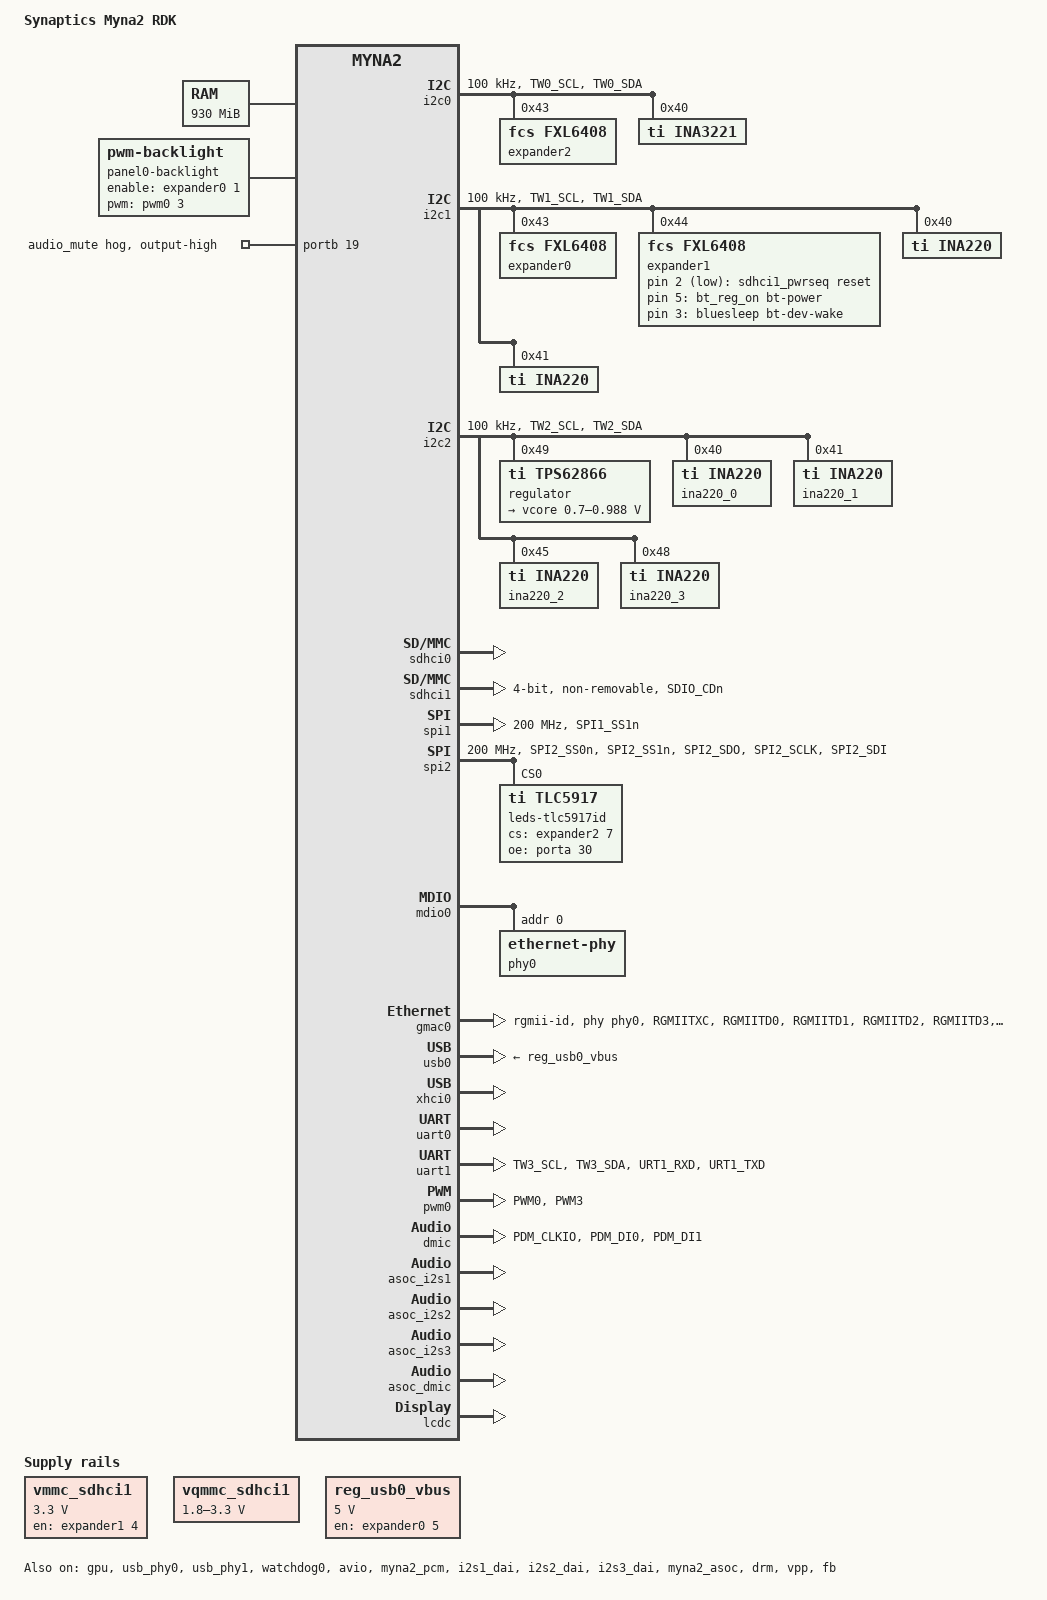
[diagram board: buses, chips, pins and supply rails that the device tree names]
/* SPDX-License-Identifier: GPL-2.0+ */
/*
* Copyright (C) 2016~2023 Synaptics Incorporated. All rights reserved.
*
* This program is free software; you can redistribute it and/or modify
* it under the terms of the GNU General Public License version 2 or
* later as published by the Free Software Foundation.
*
* INFORMATION CONTAINED IN THIS DOCUMENT IS PROVIDED "AS-IS," AND
* SYNAPTICS EXPRESSLY DISCLAIMS ALL EXPRESS AND IMPLIED WARRANTIES,
* INCLUDING ANY IMPLIED WARRANTIES OF MERCHANTABILITY AND FITNESS FOR
* A PARTICULAR PURPOSE, AND ANY WARRANTIES OF NON-INFRINGEMENT OF ANY
* INTELLECTUAL PROPERTY RIGHTS. IN NO EVENT SHALL SYNAPTICS BE LIABLE
* FOR ANY DIRECT, INDIRECT, INCIDENTAL, SPECIAL, PUNITIVE, OR
* CONSEQUENTIAL DAMAGES ARISING OUT OF OR IN CONNECTION WITH THE USE
* OF THE INFORMATION CONTAINED IN THIS DOCUMENT, HOWEVER CAUSED AND
* BASED ON ANY THEORY OF LIABILITY, WHETHER IN AN ACTION OF CONTRACT,
* NEGLIGENCE OR OTHER TORTIOUS ACTION, AND EVEN IF SYNAPTICS WAS
* ADVISED OF THE POSSIBILITY OF SUCH DAMAGE. IF A TRIBUNAL OF
* COMPETENT JURISDICTION DOES NOT PERMIT THE DISCLAIMER OF DIRECT
* DAMAGES OR ANY OTHER DAMAGES, SYNAPTICS' TOTAL CUMULATIVE LIABILITY
* TO ANY PARTY SHALL NOT EXCEED ONE HUNDRED U.S. DOLLARS.
*/

/dts-v1/;

/memreserve/ 0x3ff00000 0x00100000;

#include <dt-bindings/gpio/gpio.h>

#include "myna2.dtsi"

/ {
	model = "Synaptics Myna2 RDK";
	compatible = "syna,myna2-rdk", "syna,myna2";

	cpus {
		cpu@0 {
			cpu0-supply = <&vcore>;
		};
	};

	chosen {
		bootargs = "cma=0x4000000@0x38800000";
		stdout-path = "serial0:115200n8";
	};

	memory {
		device_type = "memory";
		reg = <0 0x4a00000 0 0x3a200000>;
	};

	panel0-backlight {
		compatible = "pwm-backlight";
		pwms = <&pwm0 3 1000000 0>;
		brightness-levels = <0 36 72 108 144 180 212 255>;
		default-brightness-level = <7>;
		enable-gpio = <&expander0 1 GPIO_ACTIVE_HIGH>;
	};

	ion {
		compatible = "syna,berlin-heaps";
		pool-num = <2>;
		reg-names = "NonSecure-NC", "Secure";
		reg = <0 0x3ec00000 0  0x400000>,
			<0 0x3f000000 0 0x1000000>;
		attributes-num-per-pool = <2>;
		pool-attributes = <0x00000105 0x00000F3A 0x00000102 0x00000F3D>;
	};

	sdhci1_pwrseq: sdhci1-pwrseq {
		compatible = "mmc-pwrseq-simple";
		reset-gpios = <&expander1 2 GPIO_ACTIVE_LOW>;
		post-power-on-delay-ms = <50>;
	};

	regulators {
		compatible = "simple-bus";
		#address-cells = <1>;
		#size-cells = <0>;

		vmmc_sdhci1: vmmc_sdhci1 {
			compatible = "regulator-fixed";
			regulator-min-microvolt = <3300000>;
			regulator-max-microvolt = <3300000>;
			regulator-name = "vmmc_sdio";
			enable-active-high;
			regulator-boot-on;
			gpio = <&expander1 4 GPIO_ACTIVE_HIGH>;
		};

		vqmmc_sdhci1: vqmmc_sdhci1 {
			compatible = "regulator-gpio";
			regulator-min-microvolt = <1800000>;
			regulator-max-microvolt = <3300000>;
			regulator-name = "vqmmc_sdio";
			regulator-type = "voltage";
			enable-active-high;
			gpios = <&expander1 6 GPIO_ACTIVE_HIGH>;
			states = <1800000 0x0
				  3300000 0x1>;
		};

		reg_usb0_vbus: usb0_vbus {
			compatible = "regulator-fixed";
			regulator-name = "usb0_vbus";
			regulator-min-microvolt = <5000000>;
			regulator-max-microvolt = <5000000>;
			gpio = <&expander0 5 GPIO_ACTIVE_HIGH>;
			enable-active-high;
			regulator-boot-on;
		};

	};

	bt_reg_on: bt_reg_on {
		compatible = "syna,rfkill";
		bt-power-gpio = <&expander1 5 GPIO_ACTIVE_HIGH>;
	};

	bluesleep: bluesleep {
		compatible = "syna,bluesleep";
		bt-dev-wake-gpio = <&expander1 3 GPIO_ACTIVE_HIGH>;
	};
};

&i2c0 {
	status = "okay";
	pinctrl-0 = <&i2c0_pmux>;
	pinctrl-names = "default";
	clock-frequency = <100000>;

	expander2: gpio@43 {
		compatible = "fcs,fxl6408";
		reg = <0x43>;
		gpio-controller;
		#gpio-cells = <2>;

		dmic_hog {
			gpio-hog;
			gpios = <4 GPIO_ACTIVE_HIGH>;
			output-high;
		};

		levelshift_en {
			gpio-hog;
			gpios = <5 GPIO_ACTIVE_HIGH>;
			output-low;
		};
	};

	ina3221@40{
		compatible = "ti,ina3221";
		reg = <0x40>;
		#address-cells = <1>;
		#size-cells = <0>;

		input@0 {
			reg = <0x0>;
			label = "VCORE";
		};

		input@1 {
			reg = <0x1>;
			label = "1V2";
		};

		input@2 {
			reg = <0x2>;
			label = "2V5";
		};
	};
};

&i2c1 {
	status = "okay";
	pinctrl-0 = <&i2c1_pmux>;
	pinctrl-names = "default";
	no-irq-suspend;
	clock-frequency = <100000>;

	expander0: gpio@43 {
		compatible = "fcs,fxl6408";
		reg = <0x43>;
		gpio-controller;
		#gpio-cells = <2>;

		en_wifi {
			gpio-hog;
			gpios = <0 GPIO_ACTIVE_LOW>;
			output-low;
		};
	};

	expander1: gpio@44 {
		compatible = "fcs,fxl6408";
		reg = <0x44>;
		gpio-controller;
		#gpio-cells = <2>;

		audio_mux {
			gpio-hog;
			gpios = <0 GPIO_ACTIVE_HIGH>;
			output-high;
		};
	};

	ina220@40 {
		compatible = "ti,ina220";
		reg = <0x40>;
	};

	ina220@41 {
		compatible = "ti,ina220";
		reg = <0x41>;
	};
};

&i2c2 {
	status = "okay";
	pinctrl-0 = <&i2c2_pmux>;
	pinctrl-names = "default";
	no-irq-suspend;
	clock-frequency = <100000>;

	regulator@49 {
		compatible = "ti,tps62866";
		reg = <0x49>;
		regulators {
			vcore: SW {
				regulator-boot-on;
				regulator-always-on;
				regulator-active-discharge = <0>;
				regulator-name = "vcore";
				regulator-min-microvolt = <700000>;
				regulator-max-microvolt = <987500>;
				regulator-initial-mode = <0>;
			};
		};
	};

	ina220_0: ina220-0@40 {
		compatible = "ti,ina220";
		reg = <0x40>;
	};

	ina220_1: ina220-1@41 {
		compatible = "ti,ina220";
		reg = <0x41>;
	};

	ina220_2: ina220-2@45 {
		compatible = "ti,ina220";
		reg = <0x45>;
	};

	ina220_3: ina220-3@48 {
		compatible = "ti,ina220";
		reg = <0x48>;
	};
};

&pinctrl {
	gmac0_pmux: gmac0-pmux {
		groups = "RGMIITXC", "RGMIITD0", "RGMIITD1", "RGMIITD2", "RGMIITD3", "RGMIITXCTL", "RGMIIRXC", "RGMIIRD0", "RGMIIRD1", "RGMIIRD2", "RGMIIRD3", "RGMIIRXCTL", "RGMII_CLK_OUT";
		function = "rgmii";
		drive-strength = <3>;
	};

	rgmiia_pmux: rgmiia-pmux {
		groups = "GPIO_A0", "GPIO_A1";
		function = "rgmiia";
		drive-strength = <6>;
	};


	sdio_pmux: sdio-pmux {
		groups = "LCDGPIO3", "LCDGPIO4";
		function = "sdio";
	};

	i2c0_pmux: i2c0-pmux {
		groups = "TW0_SCL", "TW0_SDA";
		function = "tw0";
		drive-strength = <7>;
	};

	i2c1_pmux: i2c1-pmux {
		groups = "TW1_SCL", "TW1_SDA";
		function = "tw1";
		drive-strength = <7>;
	};

	i2c2_pmux: i2c2-pmux {
		groups = "TW2_SCL", "TW2_SDA";
		function = "tw2";
		drive-strength = <7>;
	};

	gpio2_pmux: gpio2-pmux {
		groups = "TDO";
		function = "gpio";
	};

	expander2_pmux: expander2-pmux {
		groups = "PWM2";
		function = "gpio";
	};

	spi1_pmux: spi1-pmux {
		groups = "SPI1_SS1n";
		function = "spi1";
	};

	spi2_pmux: spi2-pmux {
		groups = "SPI2_SS0n", "SPI2_SS1n", "SPI2_SDO", "SPI2_SCLK", "SPI2_SDI";
		function = "spi2";
	};

	pwm0_pmux: pwm0-pmux {
		groups = "PWM0";
		function = "pwm";
	};

	pwm3_pmux: pwm3-pmux {
		groups = "PWM3";
		function = "pwm";
	};

	uart1_pmux: uart1-pmux {
		groups = "TW3_SCL", "TW3_SDA", "URT1_RXD", "URT1_TXD";
		function = "urt1a";
	};

	i2s1_pmux: i2s1-pmux {
		groups = "I2S1_BCLK", "I2S1_LRCK", "I2S1_DO", "I2S1_DI", "I2S1_MCLK";
		function = "i2s1";
	};

	i2s3_pmux: i2s3-pmux {
		groups = "I2S3_BCLK", "I2S3_LRCK", "I2S3_DO", "I2S3_DI";
		function = "i2s3";
	};

	i2s2_pmux: i2s2-pmux {
		groups = "I2S2_BCLK", "I2S2_LRCK", "I2S2_DO", "I2S2_DI";
		function = "i2s2";
	};

	tlv_amp: tlv-amp-enable {
		groups = "I2S2_DI";
		function = "gpio";
	};

	pdm_pmux: pdm-pmux {
		groups = "PDM_CLKIO", "PDM_DI0", "PDM_DI1";
		function = "pdm";
	};

	lcdc_pmux: lcdc-pmux {
		groups = "LCDD0", "LCDD1", "LCDD2", "LCDD3", "LCDD4", "LCDD5", "LCDD6", "LCDD7",
				 "LCDD8", "LCDD9", "LCDD10", "LCDD11", "LCDD12", "LCDD13", "LCDD14", "LCDD15",
				 "LCDD16", "LCDD17", "LCDD18", "LCDD19", "LCDD20", "LCDD21", "LCDD22", "LCDD23";
		function = "lcd";
	};

	lcdc_pmux1: lcdc-pmux1 {
		groups = "LPCLK";
		function = "lpclk";
	};

	lcdc_gpio_pmux: lcdc-gpio-pmux {
		groups = "LCDGPIO0", "LCDGPIO1", "LCDGPIO2";
		function = "lcdgpio";
	};

	audio_mute: audio-mute {
		groups = "USB2_DRV_VBUS";
		function = "gpio";
	};

	sdhci1_pmux: sdhci1-pmux {
		groups = "SDIO_CDn";
		function = "sdio";
		drive-strength = <7>;
        };

};

&gpu {
	status = "okay";
};

&sdhci0 {
	status = "okay";
	sdclkdl-dc = /bits/ 8 <26>;
	mmc-ddr-1_8v;
	mmc-hs200-1_8v;
	mmc-hs400-1_8v;
	dll-calibration;
};

&sdhci1 {
	status = "okay";
	pinctrl-0 = <&sdhci1_pmux>;
	pinctrl-names = "default";
	bus-width = <4>;
	sdclkdl-dc = /bits/ 8 <75>;
	pad-sp = /bits/ 8 <4>;
	pad-sn = /bits/ 8 <4>;
	no-sd;
	no-mmc;
	non-removable;
	mmc-pwrseq = <&sdhci1_pwrseq>;
	mode1-tune;
	keep-power-in-suspend;
};

&spi1 {
	status = "okay";
	max-write-size = <128>;
	clock-frequency = <200000000>;
	pinctrl-0 = <&spi1_pmux>;
	pinctrl-names = "default";
};

&spi2 {
	status = "okay";
	max-write-size = <128>;
	clock-frequency = <200000000>;
	pinctrl-0 = <&spi2_pmux>;
	pinctrl-names = "default";

	leds-tlc5917id@0 {
		compatible = "ti,tlc5917";
		cs-gpio = <&expander2 7 GPIO_ACTIVE_HIGH>;
		oe-gpio = <&porta 30 GPIO_ACTIVE_HIGH>;
		#address-cells = <1>;
		#size-cells = <0>;
		reg = <0>;

		led0 {
			reg = <0>;
			label = "LED0";
		};

		led1 {
			reg = <1>;
			label = "LED1";
		};

		led2 {
			reg = <2>;
			label = "LED2";
		};

		led3 {
			reg = <3>;
			label = "LED3";
		};

		led4 {
			reg = <4>;
			label = "LED4";
		};

		led5 {
			reg = <5>;
			label = "LED5";
		};

		led6 {
			reg = <6>;
			label = "LED6";
		};

		led7 {
			reg = <7>;
			label = "LED7";
		};
	};
};

&mdio0 {
	phy0: ethernet-phy@0 {
		reg = <0>;
		realtek,clkout-disable;
		realtek,rxc-ssc-enable;
		realtek,sysclk-ssc-enable;
	};
};

&gmac0 {
	status = "okay";
	pinctrl-0 = <&gmac0_pmux>, <&rgmiia_pmux>;
	pinctrl-names = "default";
	phy-handle = <&phy0>;
	phy-mode = "rgmii-id";
	snps,reset-gpio = <&expander0 3 GPIO_ACTIVE_HIGH>;
	snps,reset-delays-us = <0 10000 50000>;

};

&usb_phy0 {
	status = "okay";
};

&usb0 {
	vbus-supply = <&reg_usb0_vbus>;
	status = "okay";
};

&xhci0 {
	status = "okay";
};

&usb_phy1  {
	status = "okay";
};

&uart0 {
	status = "okay";
};

&uart1 {
	pinctrl-0 = <&uart1_pmux>;
	pinctrl-names = "default";
	status = "okay";
};

&watchdog0 {
	status = "okay";
};

&pwm0 {
	status = "okay";
	pinctrl-0 = <&pwm0_pmux>, <&pwm3_pmux>;
	pinctrl-names = "default", "default";
};

&avio {
	status = "okay";
};

&myna2_pcm {
	status = "okay";
};

&i2s1_dai {
	status = "okay";
	pinctrl-0 = <&i2s1_pmux>;
	pinctrl-names = "default";
	clk_src = "APLL";
	clk_feed = "I2S1_DI";
	output-mclk;
};

&i2s2_dai {
	status = "okay";
	pinctrl-0 = <&i2s2_pmux>;
	pinctrl-names = "default";
	clk_src = "APLL";
	clk_feed = "I2S3_DI";
};

&i2s3_dai {
	status = "okay";
	pinctrl-0 = <&i2s3_pmux>;
	pinctrl-names = "default";
	clk_src = "APLL";
	clk_feed = "I2S3_DI";
};

&dmic {
	status = "okay";
	pinctrl-0 = <&pdm_pmux>;
	pinctrl-names = "default";
	pdm-type = <1>;
	pdm-clk-sel = <1>;
};

&myna2_asoc {
	status = "okay";

	asoc_i2s1: asoc-i2s1 {
		status = "okay";
		stream-name = "asoc-i2s1";
		link-name = "asoc-i2s1";
		format = "i2s";
		cpu-node = <&i2s1_dai>;
		codec-name = "snd-soc-dummy";
		codec-dai-name = "snd-soc-dummy-dai";
		platform-node = <&myna2_pcm>;
	};

	asoc_i2s2: asoc-i2s2 {
		status = "okay";
		stream-name = "asoc-i2s2";
		link-name = "asoc-i2s2";
		format = "i2s";
		cpu-node = <&i2s2_dai>;
		codec-name = "snd-soc-dummy";
		codec-dai-name = "snd-soc-dummy-dai";
		platform-node = <&myna2_pcm>;
	};

	asoc_i2s3: asoc-i2s3 {
		status = "okay";
		stream-name = "asoc-i2s3";
		link-name = "asoc-i2s3";
		format = "i2s";
		cpu-node = <&i2s3_dai>;
		codec-name = "snd-soc-dummy";
		codec-dai-name = "snd-soc-dummy-dai";
		platform-node = <&myna2_pcm>;
	};

	asoc_dmic: asoc-dmic {
		status = "okay";
		stream-name = "dummy-dmic";
		link-name = "dummy-dmic";
		cpu-node = <&dmic>;
		codec-name = "snd-soc-dummy";
		codec-dai-name = "snd-soc-dummy-dai";
		platform-node = <&myna2_pcm>;
	};
};


&drm {
	status = "okay";

	pinctrl-0 = <&lcdc_pmux>, <&lcdc_pmux1>, <&lcdc_gpio_pmux>;
	pinctrl-names = "default", "default", "default", "default";

	lcdc_panel {
		status= "okay";
		hact = <800>;
		hfp = <210>;
		hsa = <2>;
		hbp = <46>;
		vact = <480>;
		vfp = <22>;
		vsa = <2>;
		vbp = <23>;
		pixclockKhz = <33300>;
		bits_per_pixel = <24>;
		busformat = <0>;
		rgbswap = <1>;
	};

	dsi_panel {
		status= "okay";

		ACTIVE_WIDTH = <800>;
		HFP = <60>;
		HSYNCWIDTH = <32>;
		HBP = <60>;
		ACTIVE_HEIGHT = <1280>;
		VFP = <16>;
		VSYNCWIDTH = <2>;
		VBP = <14>;
		FREQ = <75000>;
		bits_per_pixel = <24>;
		busformat = <0>;

		HTOTAL = <952>;
		Lanes = /bits/ 8 <4>;
		Vid_mode = /bits/ 8 <2>;
		virtual_chan = /bits/ 8 <0>;
		Clk_Lane_Polarity = /bits/ 8 <0>;
		Data_Lane_Polarity = /bits/ 8 <0>;
		Recv_ack = /bits/ 8 <0>;
		Loosely_18 = /bits/ 8 <0>;
		H_polarity = /bits/ 8 <1>;
		V_Polarity = /bits/ 8 <1>;
		Data_Polarity = /bits/ 8 <1>;
		Eotp_tx = /bits/ 8 <1>;
		Eotp_rx = /bits/ 8 <0>;
		non-Continuous_clk = /bits/ 8 <1>;
		dpi_lp_cmd =  /bits/ 8 <1>;
		Color_coding = /bits/ 8 <5>;
		Chunks = <0>;
		Null_Pkt = <0>;
		Byte_clk = <56250>;

		/*  COMMAND= Command for initialisation
		 *  Format - <CMD> <Payloadlength-n> <BYTE1> <...> <BYTEn>
		 *  Long write Ex: 39 04 FF 98 81 03

		 *  Delay in micro seconds Command format: 0xFF <4BYTE delay>
		 *  Delay for 100ms(100000us => 0x000186A0)
		 *  	- FF A0 86 01 00
		 */
		command = /bits/ 8 <0x39 0x04 0xFF 0x98 0x81 0x03
			0x15 0x02 0x01 0x00
			0x15 0x02 0x02 0x00
			0x15 0x02 0x03 0x73
			0x15 0x02 0x04 0xD7
			0x15 0x02 0x05 0x00
			0x15 0x02 0x06 0x08
			0x15 0x02 0x07 0x11
			0x15 0x02 0x08 0x00
			0x15 0x02 0x09 0x3F
			0x15 0x02 0x0a 0x00
			0x15 0x02 0x0b 0x00
			0x15 0x02 0x0c 0x00
			0x15 0x02 0x0d 0x00
			0x15 0x02 0x0e 0x00
			0x15 0x02 0x0f 0x3F
			0x15 0x02 0x10 0x3F
			0x15 0x02 0x11 0x00
			0x15 0x02 0x12 0x00
			0x15 0x02 0x13 0x00
			0x15 0x02 0x14 0x00
			0x15 0x02 0x15 0x00
			0x15 0x02 0x16 0x00
			0x15 0x02 0x17 0x00
			0x15 0x02 0x18 0x00
			0x15 0x02 0x19 0x00
			0x15 0x02 0x1a 0x00
			0x15 0x02 0x1b 0x00
			0x15 0x02 0x1c 0x00
			0x15 0x02 0x1d 0x00
			0x15 0x02 0x1e 0x40
			0x15 0x02 0x1f 0x80
			0x15 0x02 0x20 0x06
			0x15 0x02 0x21 0x01
			0x15 0x02 0x22 0x00
			0x15 0x02 0x23 0x00
			0x15 0x02 0x24 0x00
			0x15 0x02 0x25 0x00
			0x15 0x02 0x26 0x00
			0x15 0x02 0x27 0x00
			0x15 0x02 0x28 0x33
			0x15 0x02 0x29 0x33
			0x15 0x02 0x2a 0x00
			0x15 0x02 0x2b 0x00
			0x15 0x02 0x2c 0x00
			0x15 0x02 0x2d 0x00
			0x15 0x02 0x2e 0x00
			0x15 0x02 0x2f 0x00
			0x15 0x02 0x30 0x00
			0x15 0x02 0x31 0x00
			0x15 0x02 0x32 0x00
			0x15 0x02 0x33 0x00
			0x15 0x02 0x34 0x00
			0x15 0x02 0x35 0x00
			0x15 0x02 0x36 0x00
			0x15 0x02 0x37 0x00
			0x15 0x02 0x38 0x00
			0x15 0x02 0x39 0x00
			0x15 0x02 0x3a 0x00
			0x15 0x02 0x3b 0x00
			0x15 0x02 0x3c 0x00
			0x15 0x02 0x3d 0x00
			0x15 0x02 0x3e 0x00
			0x15 0x02 0x3f 0x00
			0x15 0x02 0x40 0x00
			0x15 0x02 0x41 0x00
			0x15 0x02 0x42 0x00
			0x15 0x02 0x43 0x00
			0x15 0x02 0x44 0x00
			0x15 0x02 0x50 0x01
			0x15 0x02 0x51 0x23
			0x15 0x02 0x52 0x44
			0x15 0x02 0x53 0x67
			0x15 0x02 0x54 0x89
			0x15 0x02 0x55 0xab
			0x15 0x02 0x56 0x01
			0x15 0x02 0x57 0x23
			0x15 0x02 0x58 0x45
			0x15 0x02 0x59 0x67
			0x15 0x02 0x5a 0x89
			0x15 0x02 0x5b 0xab
			0x15 0x02 0x5c 0xcd
			0x15 0x02 0x5d 0xef
			0x15 0x02 0x5e 0x00
			0x15 0x02 0x5f 0x0C
			0x15 0x02 0x60 0x0C
			0x15 0x02 0x61 0x0F
			0x15 0x02 0x62 0x0F
			0x15 0x02 0x63 0x0E
			0x15 0x02 0x64 0x0E
			0x15 0x02 0x65 0x06
			0x15 0x02 0x66 0x07
			0x15 0x02 0x67 0x0D
			0x15 0x02 0x68 0x02
			0x15 0x02 0x69 0x02
			0x15 0x02 0x6a 0x02
			0x15 0x02 0x6b 0x02
			0x15 0x02 0x6c 0x02
			0x15 0x02 0x6d 0x02
			0x15 0x02 0x6e 0x0D
			0x15 0x02 0x6f 0x02
			0x15 0x02 0x70 0x02
			0x15 0x02 0x71 0x05
			0x15 0x02 0x72 0x01
			0x15 0x02 0x73 0x08
			0x15 0x02 0x74 0x00
			0x15 0x02 0x75 0x0C
			0x15 0x02 0x76 0x0C
			0x15 0x02 0x77 0x0F
			0x15 0x02 0x78 0x0F
			0x15 0x02 0x79 0x0E
			0x15 0x02 0x7a 0x0E
			0x15 0x02 0x7b 0x06
			0x15 0x02 0x7c 0x07
			0x15 0x02 0x7d 0x0D
			0x15 0x02 0x7e 0x02
			0x15 0x02 0x7f 0x02
			0x15 0x02 0x80 0x02
			0x15 0x02 0x81 0x02
			0x15 0x02 0x82 0x02
			0x15 0x02 0x83 0x02
			0x15 0x02 0x84 0x0D
			0x15 0x02 0x85 0x02
			0x15 0x02 0x86 0x02
			0x15 0x02 0x87 0x05
			0x15 0x02 0x88 0x01
			0x15 0x02 0x89 0x08
			0x15 0x02 0x8A 0x00
			0x39 0x04 0xFF 0x98 0x81 0x04
			0x15 0x02 0x6E 0x3B
			0x15 0x02 0x6F 0x57
			0x15 0x02 0x3A 0xA4
			0x15 0x02 0x35 0x17
			0x15 0x02 0x8D 0x1F
			0x15 0x02 0x87 0xBA
			0x15 0x02 0xB2 0xD1
			0x15 0x02 0x88 0x0B
			0x15 0x02 0x38 0x01
			0x15 0x02 0x39 0x00
			0x15 0x02 0xB5 0x07
			0x15 0x02 0x31 0x75
			0x39 0x04 0xFF 0x98 0x81 0x01
			0x15 0x02 0x22 0x0A
			0x15 0x02 0x31 0x09
			0x15 0x02 0x50 0x86
			0x15 0x02 0x51 0x82
			0x15 0x02 0x60 0x27
			0x15 0x02 0x62 0x20
			0x15 0x02 0xA0 0x00
			0x15 0x02 0xA1 0x12
			0x15 0x02 0xA2 0x21
			0x15 0x02 0xA3 0x12
			0x15 0x02 0xA4 0x15
			0x15 0x02 0xA5 0x27
			0x15 0x02 0xA6 0x1C
			0x15 0x02 0xA7 0x1E
			0x15 0x02 0xA8 0x7D
			0x15 0x02 0xA9 0x1C
			0x15 0x02 0xAA 0x2B
			0x15 0x02 0xAB 0x6C
			0x15 0x02 0xAC 0x1B
			0x15 0x02 0xAD 0x19
			0x15 0x02 0xAE 0x4D
			0x15 0x02 0xAF 0x29
			0x15 0x02 0xB0 0x2A
			0x15 0x02 0xB1 0x4D
			0x15 0x02 0xB2 0x5A
			0x15 0x02 0xB3 0x23
			0x15 0x02 0xC0 0x00
			0x15 0x02 0xC1 0x14
			0x15 0x02 0xC2 0x21
			0x15 0x02 0xC3 0x11
			0x15 0x02 0xC4 0x16
			0x15 0x02 0xC5 0x28
			0x15 0x02 0xC6 0x1C
			0x15 0x02 0xC7 0x1D
			0x15 0x02 0xC8 0x7B
			0x15 0x02 0xC9 0x1D
			0x15 0x02 0xCA 0x29
			0x15 0x02 0xCB 0x6B
			0x15 0x02 0xCC 0x19
			0x15 0x02 0xCD 0x18
			0x15 0x02 0xCE 0x4B
			0x15 0x02 0xCF 0x21
			0x15 0x02 0xD0 0x29
			0x15 0x02 0xD1 0x4D
			0x15 0x02 0xD2 0x5B
			0x15 0x02 0xD3 0x23
			0x39 0x04 0xFF 0x98 0x81 0x00
			0x05 0x01 0x11
			0xFF 0xC0 0xD4 0x01 0x00
			0x05 0x01 0x29
			0xFF 0x10 0x27 0x00 0x00>;
	};
};

&lcdc {
	status = "okay";
};

&vpp {
	status = "okay";
	enable_ampless_boot = <1>;
};

&fb {
	status = "okay";
};

&gpio1 {
	pinctrl-0 = <&audio_mute>;
	pinctrl-names = "default";
	portb: gpio-port@1 {
			   audio_mute {
				   gpio-hog;
				   gpios = <19 GPIO_ACTIVE_HIGH>;
				   output-high;
			   };
		   };
};
